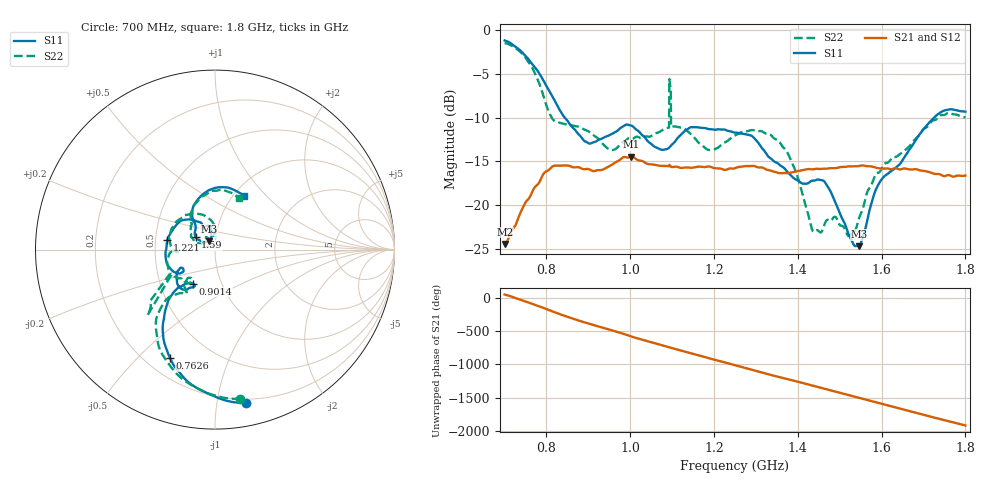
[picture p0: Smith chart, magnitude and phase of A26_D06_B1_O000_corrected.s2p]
! Created with skrf 1.9.0 (http://scikit-rf.org).
# Hz S RI R 50.0
!freq ReS11 ImS11 ReS21 ImS21 ReS12 ImS12 ReS22 ImS22
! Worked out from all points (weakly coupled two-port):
!   1601 points, 700 MHz to 1.8 GHz, reference 50 ohm
!   highest |S21| = -14.46 dB at 1.002 GHz (marker M1); lowest = -24.4 dB at 700.7 MHz (marker M2)
!   lowest |S11| = -24.7 dB at 1.546 GHz (marker M3), VSWR 1.12, Z = 46.4 + j4.37 ohm
!   |S11| at or under -10 dB: 843.5 MHz to 1.725 GHz (881.5 MHz wide, 68.6 % of centre)
!   |S22| runs from -23.5 to -1.5 dB; largest |S21 - S12| = 0.0035
!   S11 on the Smith chart (normalised r, x): 700 MHz: 0.17, -1.21; 762.6 MHz: 0.30, -0.63; 901.4 MHz: 0.73, -0.29; 1.221 GHz: 0.58, +0.07; 1.59 GHz: 0.80, +0.11; 1.8 GHz: 1.12, +0.76
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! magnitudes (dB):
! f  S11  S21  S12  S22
! 700 MHz  -1.2  -24.4  -24.2  -1.5
! 700.7 MHz  -1.2  -24.4  -24.1  -1.5
! 762.6 MHz  -3.7  -18.8  -18.8  -4.0
! 815.5 MHz  -7.7  -15.5  -15.6  -10.2
! 883.6 MHz  -12.3  -15.8  -15.7  -11.2
! 901.4 MHz  -13.0  -15.9  -15.9  -11.6
! 953.7 MHz  -11.9  -15.4  -15.4  -13.7
! 1.002 GHz  -10.9  -14.5  -14.6  -12.4
! 1.067 GHz  -13.5  -15.5  -15.4  -11.7
! 1.099 GHz  -13.1  -15.6  -15.6  -11.0
! 1.182 GHz  -11.2  -15.6  -15.6  -13.6
! 1.221 GHz  -11.4  -15.9  -15.9  -13.0
! 1.25 GHz  -11.7  -15.8  -15.7  -12.0
! 1.356 GHz  -15.4  -16.3  -16.3  -12.8
! 1.434 GHz  -17.2  -15.9  -15.9  -22.7
! 1.467 GHz  -17.5  -15.8  -15.8  -21.9
! 1.524 GHz  -23.6  -15.6  -15.5  -23.5
! 1.546 GHz  -24.7  -15.5  -15.5  -21.5
! 1.59 GHz  -17.8  -15.8  -15.7  -16.3
! 1.617 GHz  -16.3  -15.8  -15.8  -15.0
! 1.733 GHz  -9.6  -16.4  -16.5  -10.1
! 1.8 GHz  -9.3  -16.6  -16.6  -10.0
